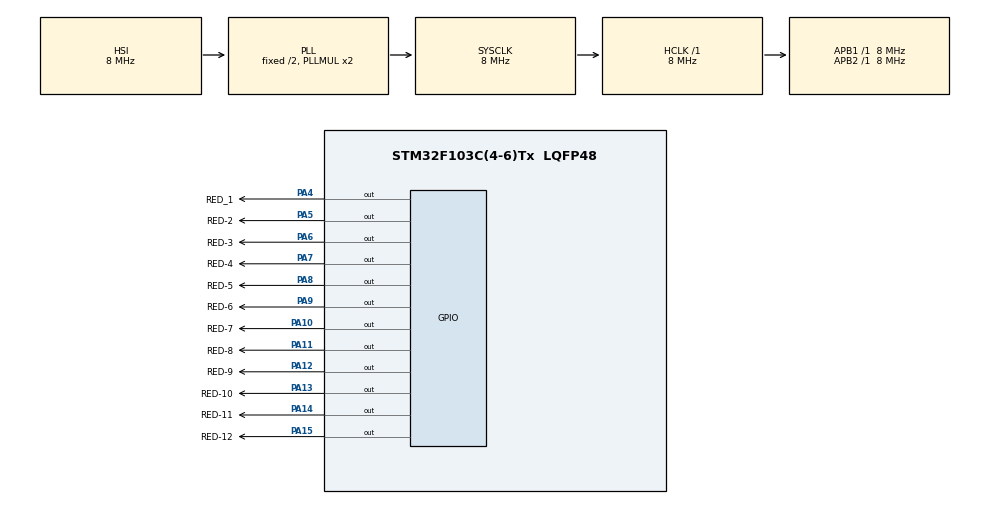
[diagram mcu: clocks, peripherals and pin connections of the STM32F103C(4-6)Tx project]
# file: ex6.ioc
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Mcu.Family=STM32F1
Mcu.Name=STM32F103C(4-6)Tx
Mcu.Package=LQFP48
NVIC.PriorityGroup=NVIC_PRIORITYGROUP_4
NVIC.TIM2_IRQn=true\:0\:0\:false\:false\:true\:true\:true\:true
PA10.GPIO_Label=RED-7
PA10.Signal=GPIO_Output
PA11.GPIO_Label=RED-8
PA11.Signal=GPIO_Output
PA12.GPIO_Label=RED-9
PA12.Signal=GPIO_Output
PA13.GPIO_Label=RED-10
PA13.Signal=GPIO_Output
PA14.GPIO_Label=RED-11
PA14.Signal=GPIO_Output
PA15.GPIO_Label=RED-12
PA15.Signal=GPIO_Output
PA4.GPIO_Label=RED_1
PA4.Signal=GPIO_Output
PA5.GPIO_Label=RED-2
PA5.Signal=GPIO_Output
PA6.GPIO_Label=RED-3
PA6.Signal=GPIO_Output
PA7.GPIO_Label=RED-4
PA7.Signal=GPIO_Output
PA8.GPIO_Label=RED-5
PA8.Signal=GPIO_Output
PA9.GPIO_Label=RED-6
PA9.Signal=GPIO_Output
ProjectManager.HeapSize=0x200
ProjectManager.StackSize=0x400
ProjectManager.TargetToolchain=STM32CubeIDE
RCC.AHBFreq_Value=8000000
RCC.APB1Freq_Value=8000000
RCC.APB1TimFreq_Value=8000000
RCC.APB2Freq_Value=8000000
RCC.APB2TimFreq_Value=8000000
RCC.HCLKFreq_Value=8000000
RCC.SYSCLKFreq_VALUE=8000000
RCC.SYSCLKSource=RCC_SYSCLKSOURCE_PLLCLK
RCC.USBFreq_Value=8000000
TIM2.Period=99
TIM2.Prescaler=7999
VP_SYS_VS_ND.Mode=No_Debug
VP_TIM2_VS_ClockSourceINT.Mode=Internal
board=custom

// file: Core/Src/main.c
/* USER CODE BEGIN Header */
/**
  ******************************************************************************
  * @file           : main.c
  * @brief          : Main program body
  ******************************************************************************
  * @attention
  *
  * Copyright (c) 2022 STMicroelectronics.
  * All rights reserved.
  *
  * This software is licensed under terms that can be found in the LICENSE file
  * in the root directory of this software component.
  * If no LICENSE file comes with this software, it is provided AS-IS.
  *
  ******************************************************************************
  */
/* USER CODE END Header */
#include "main.h"

 TIM_HandleTypeDef htim2;

void SystemClock_Config(void);
static void MX_GPIO_Init(void);
static void MX_TIM2_Init(void);

/* USER CODE BEGIN 0 */
int const HOUR = 12;
int const MINUTE = 60;
int const SECOND = 60;

int currentHour = 0;
int currentMinute = 0;
int currentSecond = 0;

char initialTest = 1;
int testLed = 0;
int timerCount = 0;

uint16_t LED_PIN[12] = {RED_12_Pin, RED_1_Pin, RED_2_Pin, RED_3_Pin, RED_4_Pin, RED_5_Pin, RED_6_Pin, RED_7_Pin, RED_8_Pin, RED_9_Pin, RED_10_Pin, RED_11_Pin};

void setNumberOnClock(int num){
	HAL_GPIO_WritePin(GPIOA, LED_PIN[num],0);
}

void clearNumberOnClock(int num){
	HAL_GPIO_WritePin(GPIOA, LED_PIN[num],1);
}

void clearAllClock(){
	for (int i = 0; i < 12; i++){
		clearNumberOnClock(i);
	}
}

int hour2clock(int n){
	return n;
}

int minute2clock(int n){
//	float result = (float)(n)/5.0;

//	if (result - (int)result >= 0.5)
//		return (int)(result)+1;
//	else
//		return (int)result;
	return n/5;
}

int second2clock(int n){
//	float result = (float)(n)/5.0;
//
//	if (result - (int)result >= 0.5)
//		return (int)(result)+1;
//	else
//		return (int)result;

	return n/5;
}

void HAL_TIM_PeriodElapsedCallback(TIM_HandleTypeDef *htim){
	// LED test
	if (initialTest == 1){
		if (testLed >= 12){
			initialTest = 0;
		}
		else{
			timerCount++;

			if(timerCount >= 10){
				timerCount = 0;
				HAL_GPIO_WritePin(GPIOA, LED_PIN[testLed], 0);

				for (int i = 0; i < 12; i++){
					if (i != testLed)
						HAL_GPIO_WritePin(GPIOA, LED_PIN[i], 1);
				}
				timerCount = 0;
				testLed++;
			}
		}
	}
	else{

		// Clock simulation
		int hourClock = hour2clock(currentHour);
		int minuteClock = minute2clock(currentMinute);
		int secondClock = second2clock(currentSecond);

		clearAllClock();

		setNumberOnClock(secondClock);
		setNumberOnClock(minuteClock);
		setNumberOnClock(hourClock);

		currentSecond++;

		if (currentSecond >= 60){
			currentSecond = 0;
			currentMinute++;
		}

		if (currentMinute >= 60){
			currentMinute = 0;
			currentHour++;
		}

		if (currentHour >= 12){
			currentHour = 0;
			currentSecond = 0;
			currentMinute = 0;
		}
	}
}
/* USER CODE END 0 */

int main(void)
{

  /* MCU Configuration--------------------------------------------------------*/

  /* Reset of all peripherals, Initializes the Flash interface and the Systick. */
  HAL_Init();

  /* Configure the system clock */
  SystemClock_Config();

  /* Initialize all configured peripherals */
  MX_GPIO_Init();
  MX_TIM2_Init();
  /* USER CODE BEGIN 2 */
  HAL_TIM_Base_Start_IT(&htim2);
  /* USER CODE END 2 */

  /* Infinite loop */
  while (1)
  {

  }
}

void SystemClock_Config(void)
{
  RCC_OscInitTypeDef RCC_OscInitStruct = {0};
  RCC_ClkInitTypeDef RCC_ClkInitStruct = {0};

  /** Initializes the RCC Oscillators according to the specified parameters
  * in the RCC_OscInitTypeDef structure.
  */
  RCC_OscInitStruct.OscillatorType = RCC_OSCILLATORTYPE_HSI;
  RCC_OscInitStruct.HSIState = RCC_HSI_ON;
  RCC_OscInitStruct.HSICalibrationValue = RCC_HSICALIBRATION_DEFAULT;
  RCC_OscInitStruct.PLL.PLLState = RCC_PLL_ON;
  RCC_OscInitStruct.PLL.PLLSource = RCC_PLLSOURCE_HSI_DIV2;
  RCC_OscInitStruct.PLL.PLLMUL = RCC_PLL_MUL2;
  if (HAL_RCC_OscConfig(&RCC_OscInitStruct) != HAL_OK)
  {
    Error_Handler();
  }

  /** Initializes the CPU, AHB and APB buses clocks
  */
  RCC_ClkInitStruct.ClockType = RCC_CLOCKTYPE_HCLK|RCC_CLOCKTYPE_SYSCLK
                              |RCC_CLOCKTYPE_PCLK1|RCC_CLOCKTYPE_PCLK2;
  RCC_ClkInitStruct.SYSCLKSource = RCC_SYSCLKSOURCE_PLLCLK;
  RCC_ClkInitStruct.AHBCLKDivider = RCC_SYSCLK_DIV1;
  RCC_ClkInitStruct.APB1CLKDivider = RCC_HCLK_DIV1;
  RCC_ClkInitStruct.APB2CLKDivider = RCC_HCLK_DIV1;

  if (HAL_RCC_ClockConfig(&RCC_ClkInitStruct, FLASH_LATENCY_0) != HAL_OK)
  {
    Error_Handler();
  }
}

static void MX_TIM2_Init(void)
{

  TIM_ClockConfigTypeDef sClockSourceConfig = {0};
  TIM_MasterConfigTypeDef sMasterConfig = {0};

  htim2.Instance = TIM2;
  htim2.Init.Prescaler = 7999;
  htim2.Init.CounterMode = TIM_COUNTERMODE_UP;
  htim2.Init.Period = 99;
  htim2.Init.ClockDivision = TIM_CLOCKDIVISION_DIV1;
  htim2.Init.AutoReloadPreload = TIM_AUTORELOAD_PRELOAD_DISABLE;
  if (HAL_TIM_Base_Init(&htim2) != HAL_OK)
  {
    Error_Handler();
  }
  sClockSourceConfig.ClockSource = TIM_CLOCKSOURCE_INTERNAL;
  if (HAL_TIM_ConfigClockSource(&htim2, &sClockSourceConfig) != HAL_OK)
  {
    Error_Handler();
  }
  sMasterConfig.MasterOutputTrigger = TIM_TRGO_RESET;
  sMasterConfig.MasterSlaveMode = TIM_MASTERSLAVEMODE_DISABLE;
  if (HAL_TIMEx_MasterConfigSynchronization(&htim2, &sMasterConfig) != HAL_OK)
  {
    Error_Handler();
  }

}

static void MX_GPIO_Init(void)
{
  GPIO_InitTypeDef GPIO_InitStruct = {0};

  /* GPIO Ports Clock Enable */
  __HAL_RCC_GPIOA_CLK_ENABLE();

  /*Configure GPIO pin Output Level */
  HAL_GPIO_WritePin(GPIOA, RED_1_Pin|RED_2_Pin|RED_3_Pin|RED_4_Pin
                          |RED_5_Pin|RED_6_Pin|RED_7_Pin|RED_8_Pin
                          |RED_9_Pin|RED_10_Pin|RED_11_Pin|RED_12_Pin, GPIO_PIN_RESET);

  /*Configure GPIO pins : RED_1_Pin RED_2_Pin RED_3_Pin RED_4_Pin
                           RED_5_Pin RED_6_Pin RED_7_Pin RED_8_Pin
                           RED_9_Pin RED_10_Pin RED_11_Pin RED_12_Pin */
  GPIO_InitStruct.Pin = RED_1_Pin|RED_2_Pin|RED_3_Pin|RED_4_Pin
                          |RED_5_Pin|RED_6_Pin|RED_7_Pin|RED_8_Pin
                          |RED_9_Pin|RED_10_Pin|RED_11_Pin|RED_12_Pin;
  GPIO_InitStruct.Mode = GPIO_MODE_OUTPUT_PP;
  GPIO_InitStruct.Pull = GPIO_NOPULL;
  GPIO_InitStruct.Speed = GPIO_SPEED_FREQ_LOW;
  HAL_GPIO_Init(GPIOA, &GPIO_InitStruct);

}

void Error_Handler(void)
{
  __disable_irq();
  while (1)
  {
  }
}
